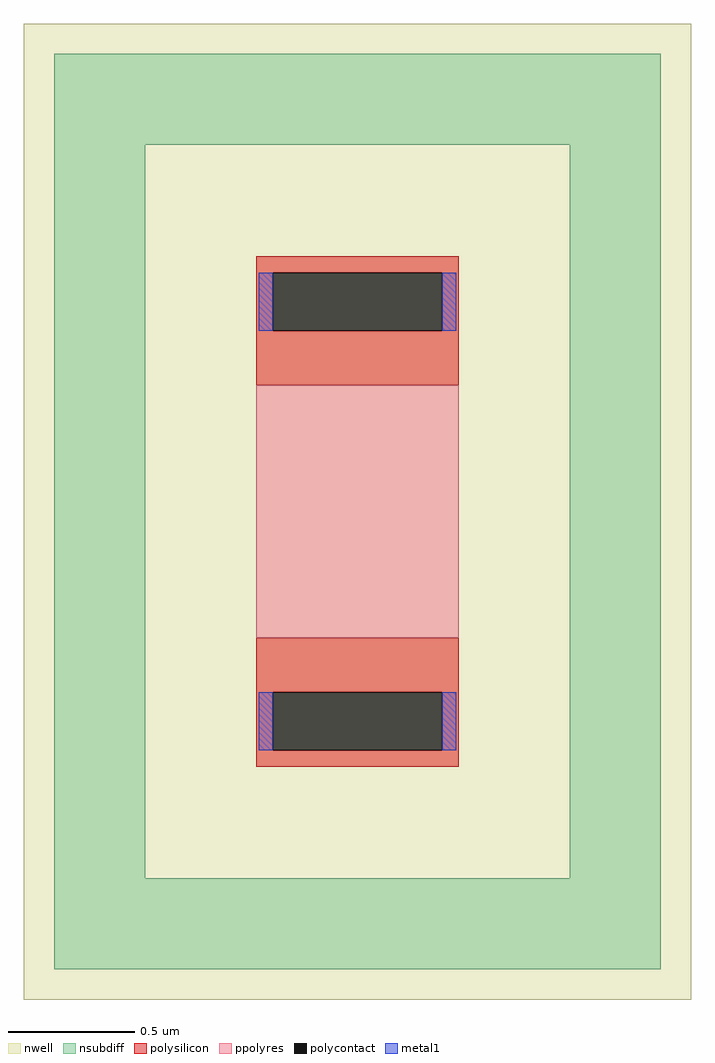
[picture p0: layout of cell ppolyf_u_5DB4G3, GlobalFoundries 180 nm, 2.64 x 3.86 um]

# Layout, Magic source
magic
tech gf180mcuC
magscale 1 10
<< nwell >>
rect -264 -386 264 386
<< nsubdiff >>
rect -240 290 240 362
rect -240 -290 -168 290
rect 168 -290 240 290
rect -240 -362 240 -290
<< polysilicon >>
rect -80 189 80 202
rect -80 143 -67 189
rect 67 143 80 189
rect -80 100 80 143
rect -80 -143 80 -100
rect -80 -189 -67 -143
rect 67 -189 80 -143
rect -80 -202 80 -189
<< polycontact >>
rect -67 143 67 189
rect -67 -189 67 -143
<< ppolyres >>
rect -80 -100 80 100
<< metal1 >>
rect -78 143 -67 189
rect 67 143 78 189
rect -78 -189 -67 -143
rect 67 -189 78 -143
<< properties >>
string FIXED_BBOX -204 -326 204 326
string gencell ppolyf_u
string library gf180mcu
string parameters w 0.80 l 1.00 m 1 nx 1 wmin 0.80 lmin 1.00 rho 315 val 431.506 dummy 0 dw 0.07 term 0.0 sterm 0.0 caplen 0.4 snake 0 glc 0 grc 0 gtc 0 gbc 0 roverlap 0 endcov 100 full_metal 0
<< end >>
